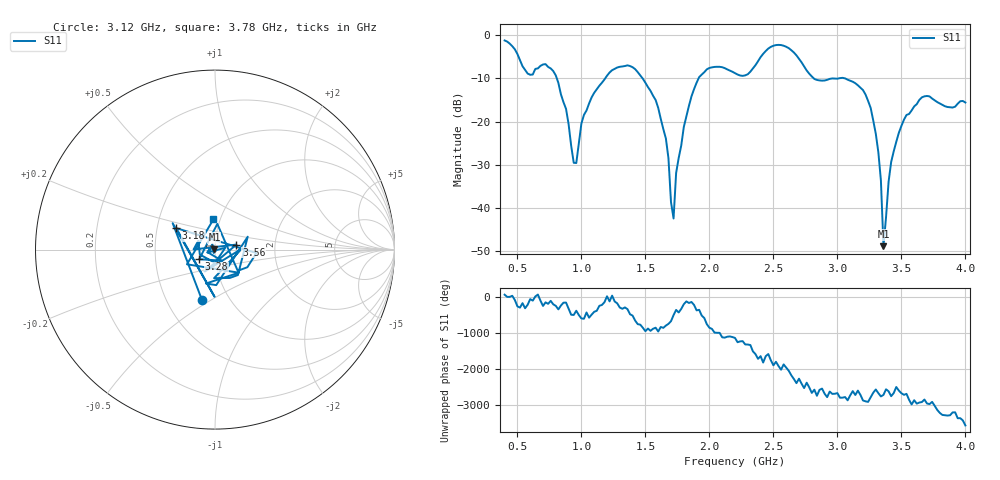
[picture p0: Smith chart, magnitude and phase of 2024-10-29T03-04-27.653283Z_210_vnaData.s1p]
!Created with skrf (http://scikit-rf.org).
# Hz S RI R 50.0
!freq ReS11 ImS11
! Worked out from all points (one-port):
!   181 points, 400 MHz to 4 GHz, reference 50 ohm
!   lowest |S11| = -48.8 dB at 3.36 GHz (marker M1), VSWR 1.01, Z = 49.7 + j0.175 ohm
!   |S11| at or under -10 dB: 807.9 MHz to 1.186 GHz (377.9 MHz wide, 37.9 % of centre); 1.478 GHz to 1.915 GHz (437.4 MHz wide, 25.8 % of centre); 3.06 GHz to end of sweep (the widest 3 of 4)
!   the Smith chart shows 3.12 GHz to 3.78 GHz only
!   S11 on the Smith chart (normalised r, x): 3.12 GHz: 0.75, -0.46; 3.18 GHz: 0.63, +0.16; 3.28 GHz: 0.83, -0.09; 3.56 GHz: 1.27, +0.07; 3.78 GHz: 0.93, +0.32
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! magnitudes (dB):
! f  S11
! 400 MHz  -1.2
! 580 MHz  -8.9
! 780 MHz  -8.3
! 860 MHz  -15.5
! 960 MHz  -29.6
! 1 GHz  -20.4
! 1.08 GHz  -14.4
! 1.3 GHz  -7.3
! 1.58 GHz  -15.0
! 1.66 GHz  -23.9
! 1.72 GHz  -42.4
! 1.74 GHz  -31.9
! 1.76 GHz  -28.4
! 1.92 GHz  -9.7
! 2.2 GHz  -8.8
! 2.5 GHz  -2.4
! 2.66 GHz  -4.0
! 2.82 GHz  -10.1
! 3.1 GHz  -10.5
! 3.12 GHz  -10.8
! 3.18 GHz  -12.1
! 3.28 GHz  -19.7
! 3.34 GHz  -33.7
! 3.36 GHz  -48.8
! 3.42 GHz  -29.4
! 3.56 GHz  -18.2
! 3.78 GHz  -15.5
! 4 GHz  -15.6
